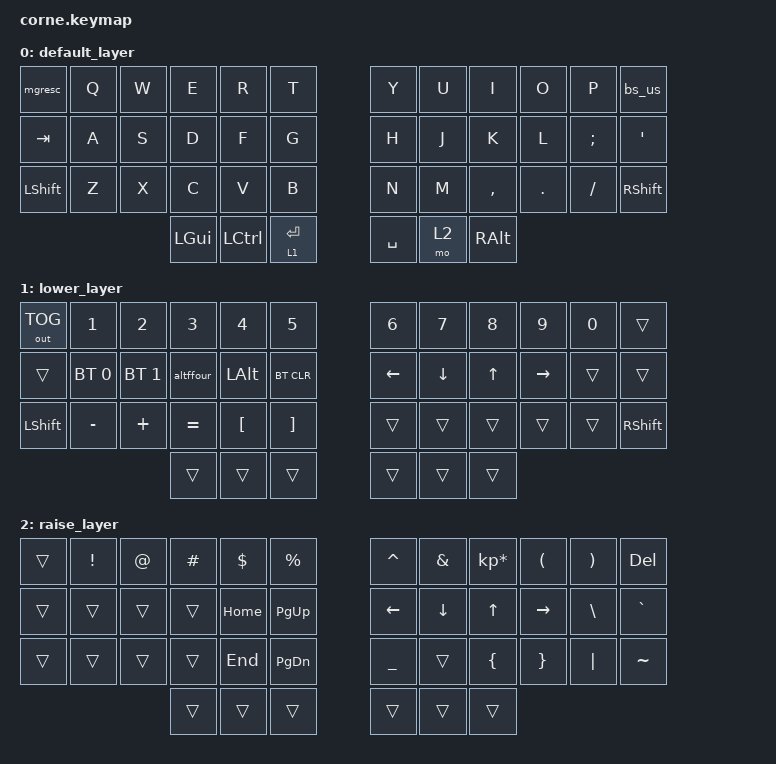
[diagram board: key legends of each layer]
/*
 * Copyright (c) 2020 The ZMK Contributors
 *
 * SPDX-License-Identifier: MIT
 */

#include <behaviors.dtsi>
#include <dt-bindings/zmk/keys.h>
#include <dt-bindings/zmk/bt.h>
#include <dt-bindings/zmk/outputs.h>

// need function keys?
/ {
    behaviors {
        mgresc: my_grave_escape {
            compatible = "zmk,behavior-mod-morph";
            label = "MY_GRAVE_ESCAPE";
            #binding-cells = <0>;
            bindings = <&kp ESC>, <&kp GRAVE>;
            mods = <(MOD_LGUI|MOD_LSFT|MOD_RGUI|MOD_RSFT)>;
            keep-mods = <(MOD_LGUI)>;
		};
        bs_us: backspace_underscore {
            compatible = "zmk,behavior-mod-morph";
            label = "BACKSPACE_UNDERSCORE";
            #binding-cells = <0>;
            bindings = <&kp BACKSPACE>, <&kp UNDERSCORE>;
            mods = <(MOD_LSFT|MOD_RSFT)>;
        };
        lhpt: layer_tap_hold_preferred {
            compatible = "zmk,behavior-hold-tap";
            label = "LAYER_TAP_HOLD_PREFERRED";
            #binding-cells = <2>;
            flavor = "hold-preferred";
            tapping-term-ms = <200>;
            bindings = <&mo>, <&kp>;
            hold-trigger-key-positions = <
                0  1  2  3  4  5       6  7  8  9  10
                            16

                   25 26 27 28 29

            >;
        };
    };
    macros {
        altffour: altffour {
            label = "altffour";
            compatible = "zmk,behavior-macro";
            #binding-cells = <0>;
            bindings
                = <&macro_press &kp LALT>
                , <&macro_tap &kp F4>
                , <&macro_release &kp LALT>
            ;
        };

    };
        keymap {
                compatible = "zmk,keymap";

                default_layer {
// -----------------------------------------------------------------------------------------
// |  TAB |  Q  |  W  |  E  |  R  |  T  |     |  Y  |  U   |  I  |  O  |  P  | BKSP |
// | CTRL |  A  |  S  |  D  |  F  |  G  |     |  H  |  J   |  K  |  L  |  ;  |  '   |
// | SHFT |  Z  |  X  |  C  |  V  |  B  |     |  N  |  M   |  ,  |  .  |  /  | ESC  |
//                    | GUI | LWR | SPC |     | ENT | RSE  | ALT |
                        bindings = <
   &mgresc   &kp Q &kp W &kp E &kp R &kp T     &kp Y &kp U  &kp I     &kp O   &kp P    &bs_us
   &kp TAB   &kp A &kp S &kp D &kp F &kp G     &kp H &kp J  &kp K     &kp L   &kp SEMI &kp SQT
   &kp LSHFT &kp Z &kp X &kp C &kp V &kp B     &kp N &kp M  &kp COMMA &kp DOT &kp FSLH &kp RSHIFT
                  &kp LGUI &kp LCTRL &lhpt 1 ENTER &kp SPACE &mo 2 &kp RALT
                        >;
                };
                lower_layer {
// -----------------------------------------------------------------------------------------
// |  TAB |  1  |  2  |  3  |  4  |  5  |   |  6  |  7  |  8  |  9  |  0  | BKSP |
// | BTCLR| BT1 | BT2 | BT3 | BT4 | BT5 |   | LFT | DWN |  UP | RGT |     |      |
// | SHFT | OUT |     |     |     |     |   |     |     |     |     |     |      |
//                    | GUI |     | SPC |   | ENT |     | ALT |
                        bindings = <
   &out OUT_TOG &kp N1       &kp N2       &kp N3    &kp N4   &kp N5        &kp N6   &kp N7   &kp N8 &kp N9    &kp N0 &trans
   &trans       &bt BT_SEL 0 &bt BT_SEL 1 &altffour &kp LALT &bt BT_CLR    &kp LEFT &kp DOWN &kp UP &kp RIGHT &trans &trans
   &kp LSHFT    &kp MINUS    &kp PLUS     &kp EQUAL &kp LBKT  &kp RBKT  &trans   &trans   &trans &trans    &trans &kp RSHIFT
                                    &trans     &trans   &trans        &trans  &trans   &trans
                        >;
                };

                raise_layer {
// -----------------------------------------------------------------------------------------
// |  TAB |  !  |  @  |  #  |  $  |  %  |   |  ^  |  &  |  *  |  (  |  )  | BKSP |
// | CTRL |     |     |     |     |     |   |  -  |  =  |  [  |  ]  |  \  |  `   |
// | SHFT |     |     |     |     |     |   |  _  |  +  |  {  |  }  | "|" |  ~   |
//                    | GUI |     | SPC |   | ENT |     | ALT |
                        bindings = <
   &trans  &kp EXCL &kp AT &kp HASH &kp DLLR &kp PRCNT   &kp CARET &kp AMPS  &kp KP_MULTIPLY &kp LPAR &kp RPAR &kp DEL
   &trans  &trans   &trans &trans   &kp HOME   &kp PG_UP    &kp LEFT &kp DOWN &kp UP &kp RIGHT &kp BSLH &kp GRAVE
   &trans  &trans   &trans &trans   &kp END   &kp PG_DN      &kp UNDER &trans  &kp LBRC        &kp RBRC &kp PIPE &kp TILDE
                             &trans &trans   &trans &trans   &trans    &trans
                        >;
                };
        };
};
